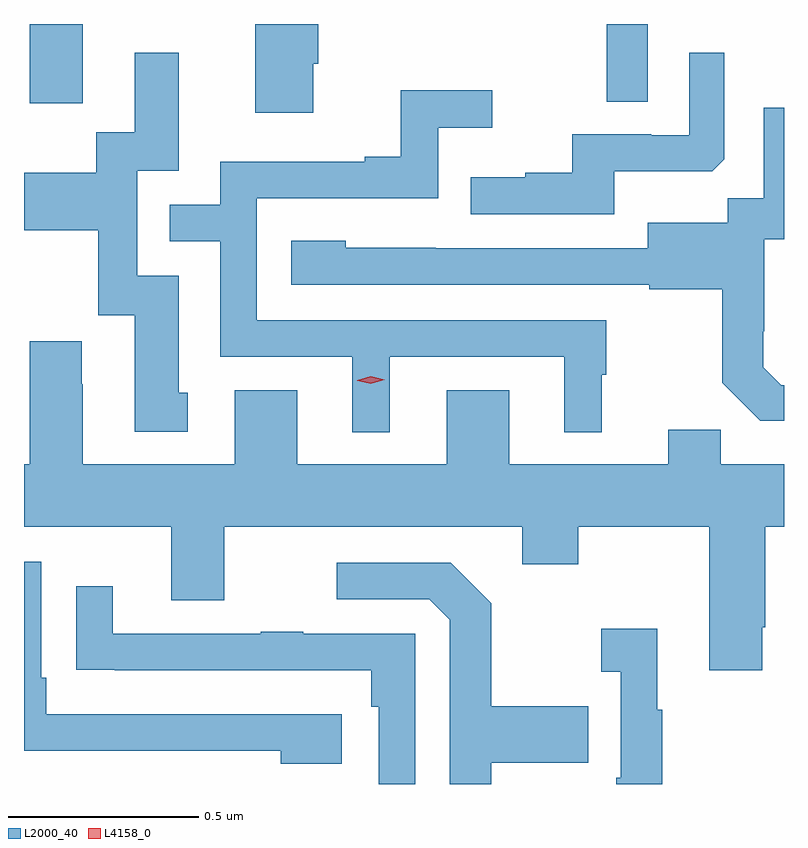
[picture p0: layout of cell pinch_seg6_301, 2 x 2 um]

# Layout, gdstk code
import gdstk
lib = gdstk.Library(unit=1e-6, precision=1e-09)
def R(c, l, rs):  # rectangles x0, y0, x1, y1
    for r in rs: c.add(gdstk.rectangle(r[:2], r[2:], *l))
def P(c, l, *ps):  # polygons
    for p in ps: c.add(gdstk.Polygon(p, *l))
L2000_40 = (2000, 40)
L4158_0 = (4158, 0)

pinch_seg6_301 = lib.new_cell('pinch_seg6_301')
R(pinch_seg6_301, L2000_40, [(879.215,957.774,879.355,957.983), (880.734,957.778,880.842,957.983)])
P(pinch_seg6_301, L2000_40, [(879.961,957.879),(879.974,957.879),(879.974,957.983),(879.809,957.983),(879.809,957.75),(879.961,957.75)],
  [(879.631,957.012),(879.607,957.012),(879.607,957.321),(879.498,957.321),(879.498,957.597),(879.607,957.597),(879.607,957.907),(879.491,957.907),(879.491,957.698),(879.39,957.698),(879.39,957.592),(879.2,957.592),(879.2,957.44),(879.395,957.44),(879.395,957.216),(879.491,957.216),(879.491,956.91),(879.631,956.91)],
  [(880.753,957.596),(881.011,957.596),(881.043,957.627),(881.043,957.907),(880.95,957.907),(880.95,957.69),(880.85,957.69),(880.85,957.693),(880.643,957.693),(880.643,957.592),(880.519,957.592),(880.519,957.58),(880.375,957.58),(880.375,957.483),(880.753,957.483)],
  [(880.162,957.108),(880.622,957.108),(880.622,956.909),(880.72,956.909),(880.72,957.06),(880.732,957.06),(880.732,957.204),(879.813,957.204),(879.813,957.525),(880.29,957.525),(880.29,957.71),(880.432,957.71),(880.432,957.809),(880.192,957.809),(880.192,957.634),(880.097,957.634),(880.097,957.621),(879.717,957.621),(879.717,957.507),(879.583,957.507),(879.583,957.411),(879.717,957.411),(879.717,957.108),(880.064,957.108),(880.064,956.909),(880.162,956.909)],
  [(881.2,957.033),(881.193,957.033),(881.146,957.08),(881.146,957.175),(881.148,957.175),(881.148,957.416),(881.2,957.416),(881.2,957.763),(881.147,957.763),(881.147,957.524),(881.052,957.524),(881.052,957.46),(880.841,957.46),(880.841,957.393),(880.283,957.393),(880.283,957.394),(880.047,957.394),(880.047,957.412),(879.903,957.412),(879.903,957.297),(880.845,957.297),(880.845,957.285),(881.037,957.285),(881.037,957.039),(881.137,956.939),(881.2,956.939)],
  [(881.003,956.283),(881.143,956.283),(881.143,956.395),(881.151,956.395),(881.151,956.66),(881.2,956.66),(881.2,956.824),(881.033,956.824),(881.033,956.915),(880.895,956.915),(880.895,956.824),(880.477,956.824),(880.477,957.019),(880.313,957.019),(880.313,956.824),(879.919,956.824),(879.919,957.019),(879.755,957.019),(879.755,956.824),(879.355,956.824),(879.355,957.035),(879.352,957.035),(879.352,957.148),(879.215,957.148),(879.215,956.824),(879.2,956.824),(879.2,956.66),(879.587,956.66),(879.587,956.466),(879.727,956.466),(879.727,956.66),(880.511,956.66),(880.511,956.561),(880.659,956.561),(880.659,956.66),(881.003,956.66)],
  [(880.036,956.166),(879.259,956.166),(879.259,956.263),(879.246,956.263),(879.246,956.568),(879.2,956.568),(879.2,956.07),(879.875,956.07),(879.875,956.036),(880.036,956.036)],
  [(880.429,956.039),(880.685,956.039),(880.685,956.187),(880.429,956.187),(880.429,956.459),(880.323,956.565),(880.023,956.565),(880.023,956.469),(880.266,956.469),(880.32,956.415),(880.32,955.983),(880.429,955.983)],
  [(880.23,956.379),(879.935,956.379),(879.935,956.384),(879.823,956.384),(879.823,956.379),(879.433,956.379),(879.433,956.503),(879.337,956.503),(879.337,956.284),(879.439,956.284),(879.439,956.283),(880.114,956.283),(880.114,956.186),(880.134,956.186),(880.134,955.983),(880.23,955.983)],
  [(880.879,956.179),(880.867,956.179),(880.867,956.392),(880.719,956.392),(880.719,956.279),(880.77,956.279),(880.77,955.999),(880.758,955.999),(880.758,955.983),(880.879,955.983)])
P(pinch_seg6_301, L4158_0, [(880.113,957.036),(880.077,957.044),(880.077,957.045),(880.077,957.045),(880.113,957.056),(880.149,957.047),(880.149,957.047),(880.149,957.047)])

lib.write_gds('pinch_seg6_301.gds')
